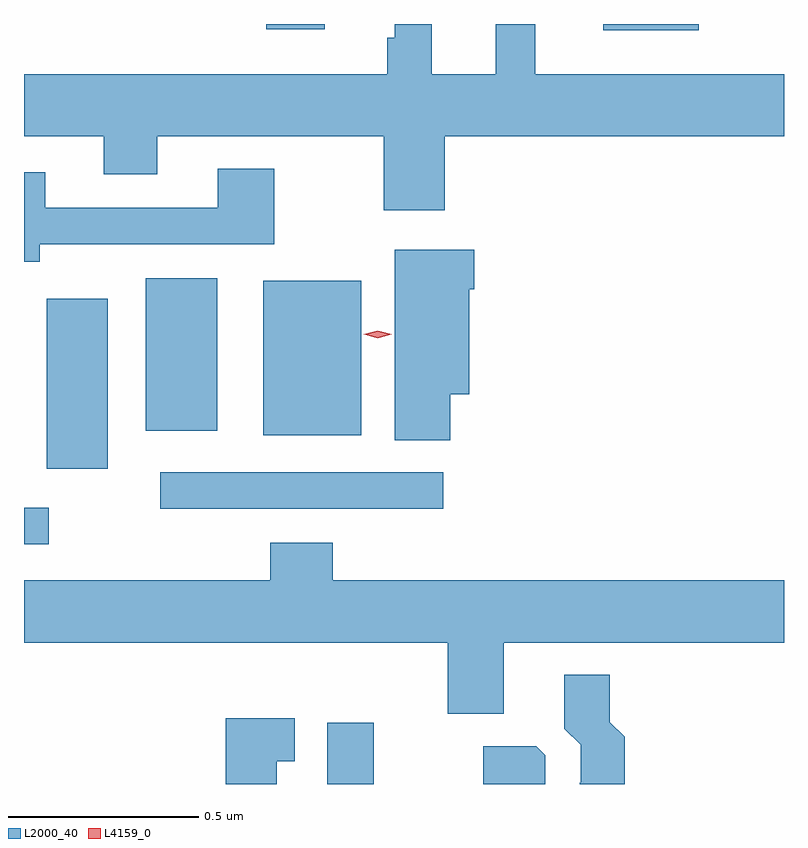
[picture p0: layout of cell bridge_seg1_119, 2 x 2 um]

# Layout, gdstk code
import gdstk
lib = gdstk.Library(unit=1e-6, precision=1e-09)
def R(c, l, rs):  # rectangles x0, y0, x1, y1
    for r in rs: c.add(gdstk.rectangle(r[:2], r[2:], *l))
def P(c, l, *ps):  # polygons
    for p in ps: c.add(gdstk.Polygon(p, *l))
L2000_40 = (2000, 40)
L4159_0 = (4159, 0)

bridge_seg1_119 = lib.new_cell('bridge_seg1_119')
R(bridge_seg1_119, L2000_40, [(206.465,568.676,206.587,568.837), (205.667,569.307,205.732,569.403), (206.025,569.4,206.77,569.496), (205.727,569.505,205.888,569.953), (206.297,569.594,206.554,570.001), (205.988,569.606,206.176,570.007), (207.191,570.659,207.442,570.676), (206.304,570.662,206.458,570.676)])
P(bridge_seg1_119, L2000_40, [(206.774,570.38),(207.667,570.38),(207.667,570.544),(207.013,570.544),(207.013,570.676),(206.909,570.676),(206.909,570.544),(206.74,570.544),(206.74,570.676),(206.642,570.676),(206.642,570.64),(206.623,570.64),(206.623,570.544),(205.667,570.544),(205.667,570.38),(205.877,570.38),(205.877,570.281),(206.017,570.281),(206.017,570.38),(206.614,570.38),(206.614,570.186),(206.774,570.186)],
  [(205.708,570.096),(206.325,570.096),(206.325,570.295),(206.177,570.295),(206.177,570.192),(205.723,570.192),(205.723,570.286),(205.667,570.286),(205.667,570.05),(205.708,570.05)],
  [(206.789,569.702),(206.839,569.702),(206.839,569.978),(206.852,569.978),(206.852,570.082),(206.642,570.082),(206.642,569.581),(206.789,569.581)],
  [(206.929,569.048),(207.667,569.048),(207.667,569.212),(206.48,569.212),(206.48,569.311),(206.315,569.311),(206.315,569.212),(205.667,569.212),(205.667,569.048),(206.782,569.048),(206.782,568.861),(206.929,568.861)],
  [(207.248,568.8),(207.209,568.839),(207.209,568.963),(207.089,568.963),(207.089,568.822),(207.132,568.779),(207.132,568.679),(207.129,568.679),(207.129,568.676),(207.248,568.676)],
  [(206.332,568.736),(206.38,568.736),(206.38,568.849),(206.198,568.849),(206.198,568.676),(206.332,568.676)],
  [(207.039,568.752),(207.015,568.776),(206.876,568.776),(206.876,568.676),(207.039,568.676)])
P(bridge_seg1_119, L4159_0, [(206.598,569.849),(206.561,569.859),(206.561,569.859),(206.561,569.859),(206.598,569.869),(206.635,569.86),(206.635,569.86),(206.635,569.859)])

lib.write_gds('bridge_seg1_119.gds')
